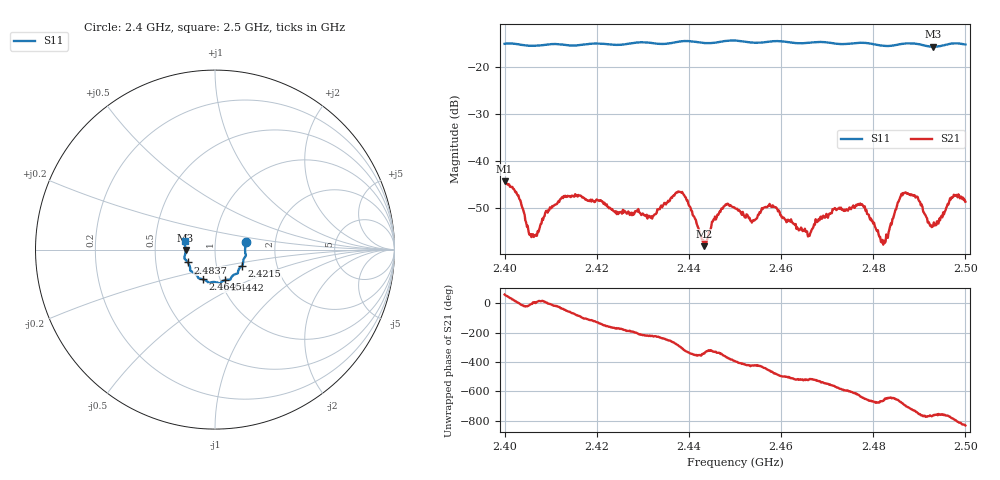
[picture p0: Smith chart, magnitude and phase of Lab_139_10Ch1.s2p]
# Hz S RI R 50
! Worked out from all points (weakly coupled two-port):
!   601 points, 2.4 GHz to 2.5 GHz, reference 50 ohm
!   highest |S21| = -44.28 dB at 2.4 GHz (marker M1); lowest = -58.1 dB at 2.4433 GHz (marker M2)
!   lowest |S11| = -15.7 dB at 2.493 GHz (marker M3), VSWR 1.39, Z = 35.9 - j0.226 ohm
!   |S11| at or under -10 dB: start of sweep to end of sweep
!   S12 and S22 are empty: the file has one direction only
!   S11 on the Smith chart (normalised r, x): 2.4 GHz: 1.41, +0.12; 2.4215 GHz: 1.33, -0.25; 2.4442 GHz: 1.05, -0.37; 2.4645 GHz: 0.83, -0.29; 2.4837 GHz: 0.73, -0.11; 2.5 GHz: 0.71, +0.07
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2.4e9  0.1713 0.0401  0.0031 0.00527  0 0  0 0
2.406e9  0.1678 -0.00162  0.00166 -0.000122  0 0  0 0
2.4125e9  0.1681 -0.0397  0.00328 -0.00252  0 0  0 0
2.416667e9  0.1567 -0.07  -0.000394 -0.0042  0 0  0 0
2.4215e9  0.1512 -0.0898  -0.00304 -0.00173  0 0  0 0
2.433333e9  0.1083 -0.1384  -0.00204 0.00229  0 0  0 0
2.438333e9  0.0856 -0.166  0.00243 0.00394  0 0  0 0
2.443333e9  0.0643 -0.1675  0.00119 0.000362  0 0  0 0
2.444167e9  0.0566 -0.1694  0.0012 0.000949  0 0  0 0
2.45e9  0.0251 -0.1891  0.00259 -0.00181  0 0  0 0
2.453833e9  0.00318 -0.1812  0.00103 -0.00207  0 0  0 0
2.458e9  -0.0281 -0.1845  -0.00089 -0.00312  0 0  0 0
2.4645e9  -0.0657 -0.1659  -0.00179 -0.000634  0 0  0 0
2.466667e9  -0.0826 -0.162  -0.00174 -0.000698  0 0  0 0
2.477167e9  -0.1356 -0.1191  0.000275 0.00353  0 0  0 0
2.482e9  -0.1422 -0.0894  0.000866 0.00117  0 0  0 0
2.483333e9  -0.149 -0.075  0.000512 0.00166  0 0  0 0
2.483667e9  -0.151 -0.0716  0.000503 0.00197  0 0  0 0
2.487e9  -0.1701 -0.0508  0.00431 0.00174  0 0  0 0
2.493e9  -0.1636 -0.00306  0.00147 -0.00145  0 0  0 0
2.497167e9  -0.1736 0.0362  0.00175 -0.0037  0 0  0 0
2.5e9  -0.1654 0.0504  -0.00147 -0.00339  0 0  0 0
